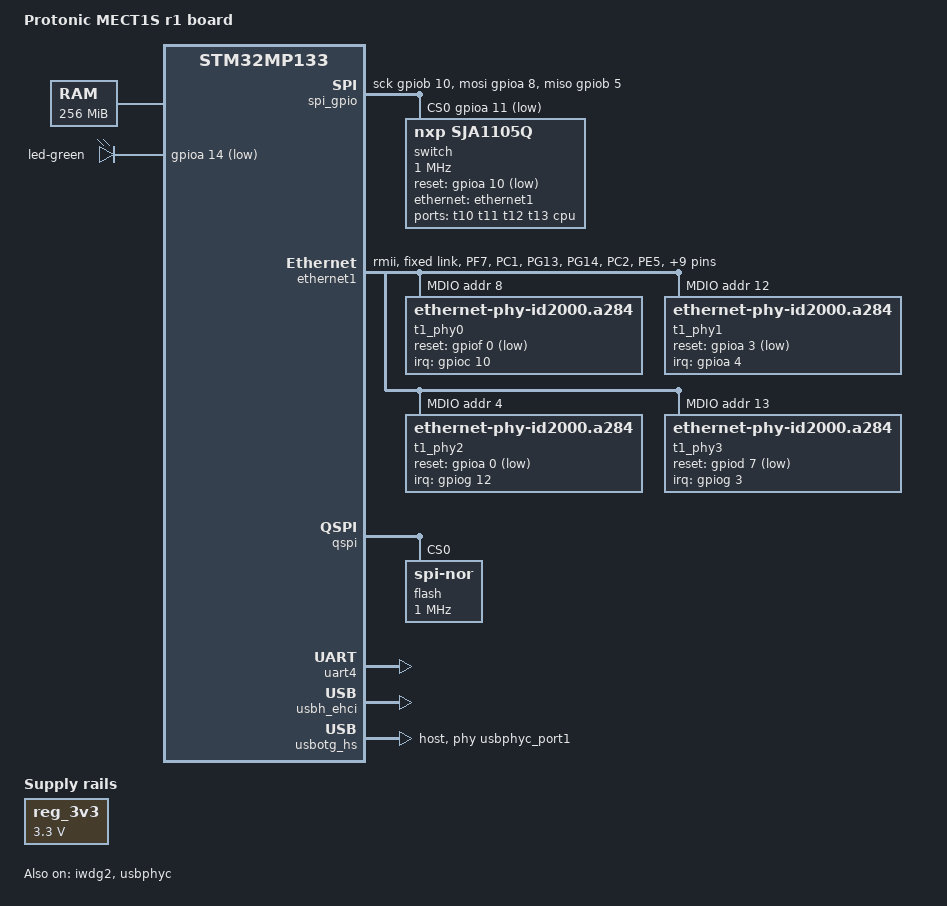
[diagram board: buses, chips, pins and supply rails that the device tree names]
// SPDX-License-Identifier: (GPL-2.0+ OR BSD-3-Clause)
/dts-v1/;

#include <dt-bindings/gpio/gpio.h>
#include <dt-bindings/input/input.h>
#include <dt-bindings/leds/common.h>
#include <dt-bindings/regulator/st,stm32mp13-regulator.h>
#include <arm/st/stm32mp133.dtsi>
#include <arm/st/stm32mp131.dtsi>
#include <arm/st/stm32mp13xc.dtsi>
#include <arm/st/stm32mp13-pinctrl.dtsi>

/ {
	model = "Protonic MECT1S r1 board";
	compatible = "prt,mect1sr1", "st,stm32mp133";

	aliases {
		mdio-gpio0 = &mdio0;
		ethernet0 = &ethernet1;
		serial0 = &uart4;
	};

	memory@c0000000 {
		device_type = "memory";
		reg = <0xc0000000 0x10000000>;
	};

	reserved-memory {
		#address-cells = <1>;
		#size-cells = <1>;
		ranges;

		optee@ce000000 {
			reg = <0xce000000 0x02000000>;
			no-map;
		};
	};

	chosen {
		stdout-path = "serial0:1500000n8";
	};

	clock_sja1105: clock-sja1105 {
		compatible = "fixed-clock";
		#clock-cells = <0>;
		clock-frequency = <25000000>;
	};

	leds {
		compatible = "gpio-leds";

		led-green {
			function = LED_FUNCTION_HEARTBEAT;
			gpios = <&gpioa 14 GPIO_ACTIVE_LOW>;
			linux,default-trigger = "heartbeat";
			default-state = "off";
		};
	};

	reg_3v3: regulator-3v3 {
		compatible = "regulator-fixed";
		regulator-name = "3v3";
		regulator-min-microvolt = <3300000>;
		regulator-max-microvolt = <3300000>;
	};

	spi_gpio: spi-gpio-0 {
		compatible = "spi-gpio";
		sck-gpios = <&gpiob 10 GPIO_ACTIVE_HIGH>;
		mosi-gpios = <&gpioa 8 GPIO_ACTIVE_HIGH>;
		miso-gpios = <&gpiob 5 GPIO_ACTIVE_HIGH>;
		cs-gpios = <&gpioa 11 GPIO_ACTIVE_LOW>;
		num-chipselects = <1>;
		#address-cells = <1>;
		#size-cells = <0>;
	};
};

&iwdg2 {
	timeout-sec = <32>;
	status = "okay";
};

&ethernet1 {
	status = "okay";
	pinctrl-0 = <&ethernet0_rgmii_pins_x>;
	pinctrl-1 = <&ethernet0_rgmii_sleep_pins_x>;
	pinctrl-names = "default", "sleep";
	phy-mode = "rmii";
	max-speed = <100>;
	st,eth-clk-sel;

	fixed-link {
		speed = <100>;
		full-duplex;
	};

	mdio0: mdio {
		 #address-cells = <1>;
		 #size-cells = <0>;
		 compatible = "snps,dwmac-mdio";
	};
};

&mdio0 {
	/* All this DP83TG720R PHYs can't be probed before switch@0 is
	 * probed so we need to use compatible with PHYid
	 */
	/* TI DP83TG720R */
	t1_phy0: ethernet-phy@8 {
		compatible = "ethernet-phy-id2000.a284";
		reg = <8>;
		interrupts-extended = <&gpioc 10 IRQ_TYPE_LEVEL_LOW>;
		reset-gpios = <&gpiof 0 GPIO_ACTIVE_LOW>;
		reset-assert-us = <10>;
		reset-deassert-us = <35>;
	};

	/* TI DP83TG720R */
	t1_phy1: ethernet-phy@c {
		compatible = "ethernet-phy-id2000.a284";
		reg = <12>;
		interrupts-extended = <&gpioa 4 IRQ_TYPE_LEVEL_LOW>;
		reset-gpios = <&gpioa 3 GPIO_ACTIVE_LOW>;
		reset-assert-us = <10>;
		reset-deassert-us = <35>;
	};

	/* TI DP83TG720R */
	t1_phy2: ethernet-phy@4 {
		compatible = "ethernet-phy-id2000.a284";
		reg = <4>;
		interrupts-extended = <&gpiog 12 IRQ_TYPE_LEVEL_LOW>;
		reset-gpios = <&gpioa 0 GPIO_ACTIVE_LOW>;
		reset-assert-us = <10>;
		reset-deassert-us = <35>;
	};

	/* TI DP83TG720R */
	t1_phy3: ethernet-phy@d {
		compatible = "ethernet-phy-id2000.a284";
		reg = <13>;
		interrupts-extended = <&gpiog 3 IRQ_TYPE_LEVEL_LOW>;
		reset-gpios = <&gpiod 7 GPIO_ACTIVE_LOW>;
		reset-assert-us = <10000>;
		reset-deassert-us = <1000>;
	};
};

&spi_gpio {
	switch@0 {
		compatible = "nxp,sja1105q";
		reg = <0>;
		#address-cells = <1>;
		#size-cells = <0>;
		spi-max-frequency = <1000000>;
		spi-rx-delay-us = <1>;
		spi-tx-delay-us = <1>;
		spi-cpha;

		reset-gpios = <&gpioa 10 GPIO_ACTIVE_LOW>;

		clocks = <&clock_sja1105>;

		ports {
			#address-cells = <1>;
			#size-cells = <0>;

			port@0 {
				reg = <0>;
				label = "t10";
				phy-mode = "rgmii-id";
				phy-handle = <&t1_phy0>;
			};

			port@1 {
				reg = <1>;
				label = "t11";
				phy-mode = "rgmii-id";
				phy-handle = <&t1_phy1>;
			};

			port@2 {
				reg = <2>;
				label = "t12";
				phy-mode = "rgmii-id";
				phy-handle = <&t1_phy2>;
			};

			port@3 {
				reg = <3>;
				label = "t13";
				phy-mode = "rgmii-id";
				phy-handle = <&t1_phy3>;
			};

			port@4 {
				reg = <4>;
				label = "cpu";
				ethernet = <&ethernet1>;
				phy-mode = "rmii";

				/* RGMII mode is not working properly, using
				 * RMII instead. */
				fixed-link {
					speed = <100>;
					full-duplex;
				};
			};
		};
	};
};

&qspi {
	pinctrl-names = "default", "sleep";
	pinctrl-0 = <&qspi_clk_pins_a
		     &qspi_bk1_pins_a
		     &qspi_cs1_pins_a>;
	pinctrl-1 = <&qspi_clk_sleep_pins_a
		     &qspi_bk1_sleep_pins_a
		     &qspi_cs1_sleep_pins_a>;
	status = "okay";

	flash@0 {
		compatible = "jedec,spi-nor";
		reg = <0>;
		spi-rx-bus-width = <4>;
		spi-max-frequency = <1000000>;
		#address-cells = <1>;
		#size-cells = <1>;
	};
};

&{qspi_bk1_pins_a/pins} {
	/delete-property/ bias-disable;
	bias-pull-up;
	drive-push-pull;
	slew-rate = <1>;
};

&uart4 {
	pinctrl-names = "default", "sleep", "idle";
	pinctrl-0 = <&uart4_pins_a>;
	pinctrl-1 = <&uart4_sleep_pins_a>;
	pinctrl-2 = <&uart4_idle_pins_a>;
	/delete-property/dmas;
	/delete-property/dma-names;
	status = "okay";
};

&usbh_ehci {
	status = "okay";
};

&usbotg_hs {
	phys = <&usbphyc_port1 0>;
	phy-names = "usb2-phy";
	status = "okay";
	dr_mode = "host";
	g-tx-fifo-size = <128 128 128 16>;
};

&usbphyc {
	status = "okay";
};

&usbphyc_port1 {
	phy-supply = <&reg_3v3>;
	st,current-boost-microamp = <1000>;
	st,decrease-hs-slew-rate;
	st,tune-hs-dc-level = <2>;
	st,enable-hs-rftime-reduction;
	st,trim-hs-current = <11>;
	st,trim-hs-impedance = <2>;
	st,tune-squelch-level = <1>;
	st,enable-hs-rx-gain-eq;
	st,no-hs-ftime-ctrl;
	st,no-lsfs-sc;
};

&pinctrl {
	ethernet0_rgmii_pins_x: rgmii-0 {
		pins1 {
			/* ETH_RGMII_CLK125 */
			pinmux = <STM32_PINMUX('F', 7, AF10)>,
				/* ETH_RGMII_GTX_CLK */
				<STM32_PINMUX('C', 1, AF11)>,
				/* ETH_RGMII_TXD0 */
				<STM32_PINMUX('G', 13, AF11)>,
				/* ETH_RGMII_TXD1 */
				<STM32_PINMUX('G', 14, AF11)>,
				/* ETH_RGMII_TXD2 */
				<STM32_PINMUX('C', 2, AF11)>,
				/* ETH_RGMII_TXD3 */
				<STM32_PINMUX('E', 5, AF10)>,
				/* ETH_RGMII_TX_CTL */
				<STM32_PINMUX('B', 11, AF11)>,
				/* ETH_MDIO */
				<STM32_PINMUX('A', 2, AF11)>,
				/* ETH_MDC */
				<STM32_PINMUX('G', 2, AF11)>;

			bias-disable;
			drive-push-pull;
			slew-rate = <3>;
		};

		pins2 {
			/* ETH_RGMII_RXD0 */
			pinmux = <STM32_PINMUX('C', 4, AF11)>,
				/* ETH_RGMII_RXD1 */
				<STM32_PINMUX('C', 5, AF11)>,
				/* ETH_RGMII_RXD2 */
				<STM32_PINMUX('B', 0, AF11)>,
				/* ETH_RGMII_RXD3 */
				<STM32_PINMUX('B', 1, AF11)>,
				/* ETH_RGMII_RX_CLK */
				<STM32_PINMUX('A', 1, AF11)>,
				/* ETH_RGMII_RX_CTL */
				<STM32_PINMUX('A', 7, AF11)>;

			bias-disable;
		};
	};

	ethernet0_rgmii_sleep_pins_x: rgmii-sleep-0 {
		pins1 {
			/* ETH_RGMII_CLK125 */
			pinmux = <STM32_PINMUX('F', 7, ANALOG)>,
				/* ETH_RGMII_GTX_CLK */
				<STM32_PINMUX('C', 1, ANALOG)>,
				/* ETH_RGMII_TXD0 */
				<STM32_PINMUX('G', 13, ANALOG)>,
				/* ETH_RGMII_TXD1 */
				<STM32_PINMUX('G', 14, ANALOG)>,
				/* ETH_RGMII_TXD2 */
				<STM32_PINMUX('C', 2, ANALOG)>,
				/* ETH_RGMII_TXD3 */
				<STM32_PINMUX('E', 5, ANALOG)>,
				/* ETH_RGMII_TX_CTL */
				<STM32_PINMUX('B', 11, ANALOG)>,
				/* ETH_MDIO */
				<STM32_PINMUX('A', 2, ANALOG)>,
				/* ETH_MDC */
				<STM32_PINMUX('G', 2, ANALOG)>,
				/* ETH_RGMII_RXD0 */
				<STM32_PINMUX('C', 4, ANALOG)>,
				/* ETH_RGMII_RXD1 */
				<STM32_PINMUX('C', 5, ANALOG)>,
				/* ETH_RGMII_RXD2 */
				<STM32_PINMUX('B', 0, ANALOG)>,
				/* ETH_RGMII_RXD3 */
				<STM32_PINMUX('B', 2, ANALOG)>,
				/* ETH_RGMII_RX_CLK */
				<STM32_PINMUX('A', 1, ANALOG)>,
				/* ETH_RGMII_RX_CTL */
				<STM32_PINMUX('A', 7, ANALOG)>;
		};
	};
};
